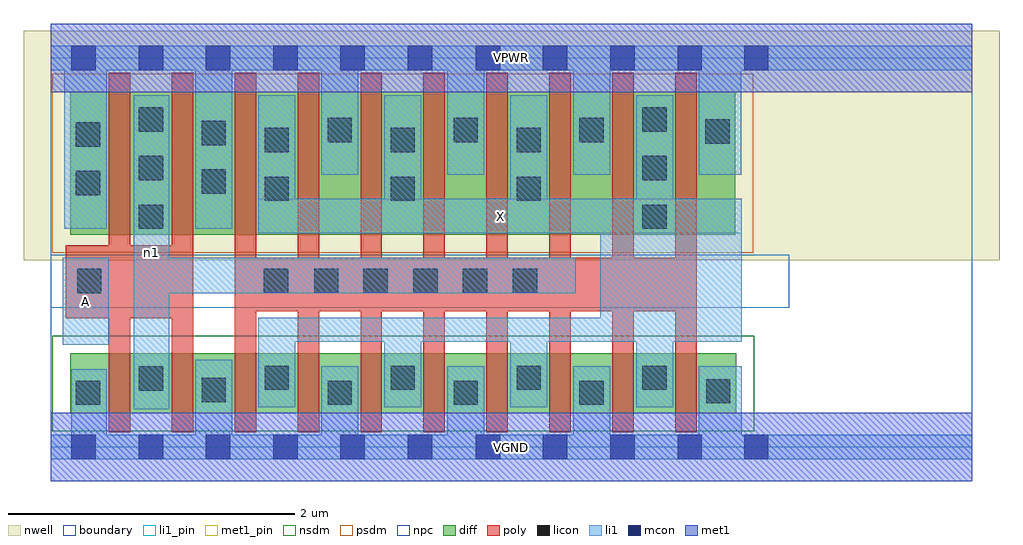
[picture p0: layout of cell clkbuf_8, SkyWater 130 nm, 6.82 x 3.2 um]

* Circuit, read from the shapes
.subckt clkbuf_8 A VGND VPWR X n1
XM1 n1 A VGND VSUBS sky130_fd_pr__nfet_01v8 w=0.42 l=0.15 m=2
XM2 X n1 VGND VSUBS sky130_fd_pr__nfet_01v8 w=0.42 l=0.15 m=8
XM3 n1 A VPWR n2 sky130_fd_pr__pfet_01v8 w=1 l=0.15 m=2
XM4 X n1 VPWR n2 sky130_fd_pr__pfet_01v8 w=1 l=0.15 m=8
.ends

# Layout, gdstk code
import gdstk
lib = gdstk.Library(unit=1e-6, precision=1e-09)
def R(c, l, rs):  # rectangles x0, y0, x1, y1
    for r in rs: c.add(gdstk.rectangle(r[:2], r[2:], *l))
def A(c, l, x, y, w, h, nx, ny, dx, dy):  # array of equal rectangles
    R(c, l, [(x+i*dx, y+j*dy, x+i*dx+w, y+j*dy+h) for i in range(nx) for j in range(ny)])
nwell = (64, 20)
diff = (65, 20)
poly = (66, 20)
licon = (66, 44)
li1_pin = (67, 16)
li1 = (67, 20)
mcon = (67, 44)
met1_pin = (68, 16)
met1 = (68, 20)
nsdm = (93, 44)
psdm = (94, 20)
npc = (95, 20)
boundary = (235, 4)

clkbuf_8 = lib.new_cell('clkbuf_8')
R(clkbuf_8, nwell, [(-0.19,1.305,6.63,2.91), (0,1.305,6.44,2.91)])
R(clkbuf_8, diff, [(0.135,0.235,4.79,0.655), (0.135,1.485,4.785,2.485)])
A(clkbuf_8, poly, 0.405, 0.105, 0.15, 2.51, 10, 1, 0.44, 0)
R(clkbuf_8, poly, [(0.105,0.9,0.995,1.41), (1.285,0.95,4.515,1.325)])
A(clkbuf_8, licon, 1.935, 0.295, 0.17, 0.17, 3, 2, 0.88, 1.835)
A(clkbuf_8, licon, 1.495, 0.4, 0.17, 0.17, 4, 1, 0.88, 0)
A(clkbuf_8, licon, 0.615, 1.525, 0.17, 0.17, 1, 3, 0, 0.34)
A(clkbuf_8, licon, 4.135, 1.525, 0.17, 0.17, 1, 3, 0, 0.34)
A(clkbuf_8, licon, 1.495, 1.72, 0.17, 0.17, 3, 2, 0.88, 0.34)
R(clkbuf_8, licon, [(0.175,0.295,0.345,0.465), (4.58,0.305,4.75,0.475), (1.055,0.315,1.225,0.485), (0.615,0.395,0.785,0.565), (0.185,1.075,0.355,1.245), (1.49,1.075,1.66,1.245), (1.84,1.075,2.01,1.245), (2.185,1.075,2.355,1.245), (2.535,1.075,2.705,1.245), (2.88,1.075,3.05,1.245), (3.23,1.075,3.4,1.245), (0.175,1.76,0.345,1.93), (1.055,1.77,1.225,1.94), (0.175,2.1,0.345,2.27), (1.055,2.11,1.225,2.28), (4.575,2.12,4.745,2.29)])
R(clkbuf_8, li1_pin, [(0.085,0.715,0.405,1.325), (1.45,1.495,4.83,1.735)])
A(clkbuf_8, li1, 1.89, -0.085, 0.26, 0.65, 3, 1, 0.88, 0)
A(clkbuf_8, li1, 1.45, 0.28, 0.26, 0.625, 3, 1, 0.88, 0)
A(clkbuf_8, li1, 1.45, 1.495, 0.26, 0.965, 3, 1, 0.88, 0)
A(clkbuf_8, li1, 1.89, 1.905, 0.26, 0.9, 3, 1, 0.88, 0)
R(clkbuf_8, li1, [(0,-0.085,6.44,0.085), (0.145,-0.085,0.39,0.545), (1.01,-0.085,1.27,0.61), (4.53,-0.085,4.83,0.565), (0.58,0.265,0.83,2.46), (4.09,0.28,4.35,2.46), (0.085,0.715,0.405,1.325), (1.45,0.735,4.83,0.905), (3.84,0.735,4.83,1.735), (0.58,1.075,3.67,1.325), (1.45,1.495,4.83,1.735), (0.095,1.525,0.39,2.805), (1.01,1.525,1.27,2.805), (4.53,1.905,4.825,2.805), (0,2.635,6.44,2.805)])
A(clkbuf_8, mcon, 0.145, -0.085, 0.17, 0.17, 6, 2, 0.47, 2.72)
A(clkbuf_8, mcon, 2.97, -0.085, 0.17, 0.17, 4, 2, 0.47, 2.72)
R(clkbuf_8, mcon, [(4.845,-0.085,5.015,0.085), (4.845,2.635,5.015,2.805)])
R(clkbuf_8, met1_pin, [(0,-0.24,6.44,0.24), (0,2.48,6.44,2.96)])
R(clkbuf_8, met1, [(0,-0.24,6.44,0.24), (0,2.48,6.44,2.96)])
R(clkbuf_8, nsdm, [(0.01,0.11,4.915,0.78)])
R(clkbuf_8, psdm, [(0.01,1.36,4.91,2.61)])
R(clkbuf_8, npc, [(0,0.975,5.16,1.345)])
R(clkbuf_8, boundary, [(0,0,6.44,2.72)])
clkbuf_8.add(gdstk.Label('A', (0.245,1.02), layer=67, texttype=5))
clkbuf_8.add(gdstk.Label('X', (3.14,1.615), layer=67, texttype=5))
clkbuf_8.add(gdstk.Label('n1', (0.705,1.362), layer=67, texttype=5))
clkbuf_8.add(gdstk.Label('VPWR', (3.22,2.72), layer=68, texttype=5))
clkbuf_8.add(gdstk.Label('VGND', (3.22,0), layer=68, texttype=5))
clkbuf_8.add(gdstk.Label('A', (0.245,1.02), layer=67, texttype=16))
clkbuf_8.add(gdstk.Label('X', (3.14,1.615), layer=67, texttype=16))
clkbuf_8.add(gdstk.Label('VPWR', (3.22,2.72), layer=68, texttype=16))
clkbuf_8.add(gdstk.Label('VGND', (3.22,0), layer=68, texttype=16))

lib.write_gds('clkbuf_8.gds')
